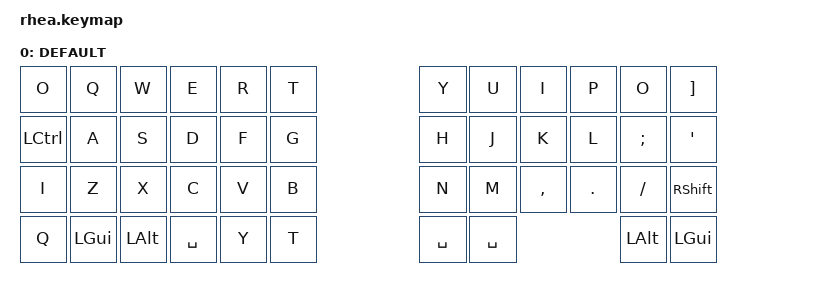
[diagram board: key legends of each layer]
#include <behaviors.dtsi>
#include <dt-bindings/zmk/keys.h>

/ {
    keymap {
        compatible = "zmk,keymap";

        default_layer {
            label = "DEFAULT";
            bindings = <
                &kp O             &kp Q       &kp W          &kp E        &kp R        &kp T                       &kp Y        &kp U        &kp I       &kp P       &kp O         &kp RIGHT_BRACKET
                &kp LEFT_CONTROL    &kp A       &kp S          &kp D        &kp F        &kp G                       &kp H        &kp J        &kp K       &kp L       &kp SEMI      &kp SINGLE_QUOTE
                &kp I      &kp Z       &kp X            &kp C        &kp V        &kp B                       &kp N        &kp M        &kp COMMA   &kp DOT     &kp FSLH      &kp RIGHT_SHIFT
                &kp Q  &kp LEFT_GUI &kp LEFT_ALT   &kp SPACE    &kp Y    &kp T                  &kp SPACE    &kp SPACE                            &kp LEFT_ALT  &kp LEFT_GUI
            >;
        };
    };
};
